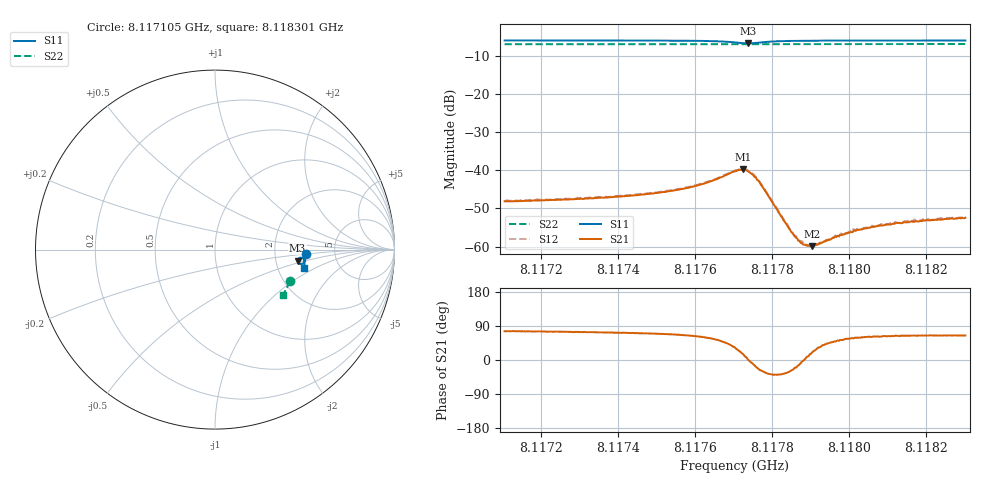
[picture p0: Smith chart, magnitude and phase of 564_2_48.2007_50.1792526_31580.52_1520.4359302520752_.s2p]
#  HZ  S  RI  R  50.00
! Rohde & Schwarz Vector Network Analyzer
! Rohde-Schwarz,ZNB20-2Port,1311601062101988,3.16
! Created: UTC 3/20/2024, 12:01:19 PM
! freq[Hz]  re:S11  im:S11  re:S21  im:S21  re:S12  im:S12  re:S22  im:S22
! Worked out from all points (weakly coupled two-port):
!   401 points, 8.117105 GHz to 8.118301 GHz, reference 50 ohm
!   highest |S21| = -39.76 dB at 8.117724 GHz (marker M1); lowest = -59.9 dB at 8.117904 GHz (marker M2)
!   lowest |S11| = -6.7 dB at 8.117736 GHz (marker M3), VSWR 2.73, Z = 133 - j20.6 ohm
!   |S11| at or under -10 dB: nowhere
!   |S22| runs from -6.9 to -6.8 dB; largest |S21 - S12| = 0.00038
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8.1171048e9  0.5062 -0.0234  0.000952 0.00381  0.000961 0.00386  0.4163 -0.1755
8.1173052e9  0.5047 -0.0397  0.00118 0.00406  0.00124 0.00416  0.4112 -0.1885
8.11738e9  0.5038 -0.0462  0.00135 0.00425  0.00136 0.00429  0.4091 -0.1932
8.1175057e9  0.5013 -0.0581  0.00182 0.00476  0.00191 0.00485  0.4054 -0.2014
8.1176074e9  0.4959 -0.0706  0.00298 0.00565  0.00306 0.00571  0.4022 -0.208
8.1176522e9  0.4894 -0.0773  0.00441 0.00616  0.00452 0.00626  0.4005 -0.2109
8.1177031e9  0.4708 -0.0793  0.0082 0.00529  0.00845 0.00526  0.3982 -0.2139
8.117724e9  0.4612 -0.0699  0.00991 0.00274  0.0102 0.00248  0.3972 -0.2146
8.117736e9  0.4598 -0.0609  0.00979 0.000338  0.00999 0.000477  0.397 -0.2149
8.1177509e9  0.4646 -0.0505  0.00837 -0.00173  0.00864 -0.00193  0.3969 -0.2153
8.1177689e9  0.4748 -0.045  0.00594 -0.00301  0.00608 -0.00309  0.397 -0.2162
8.1178497e9  0.4968 -0.058  0.00138 -0.000718  0.00141 -0.000733  0.3952 -0.222
8.1178616e9  0.4975 -0.0601  0.00122 -0.000444  0.0013 -0.000446  0.3951 -0.2228
8.1178796e9  0.4985 -0.0631  0.00107 -4.66e-05  0.00114 -6.66e-05  0.3944 -0.2241
8.1178915e9  0.4986 -0.0648  0.00101 0.000169  0.00104 0.000121  0.3939 -0.2247
8.1179035e9  0.499 -0.0665  0.000951 0.000348  0.000993 0.000356  0.3937 -0.2255
8.1179693e9  0.4993 -0.0746  0.000856 0.00109  0.000884 0.00109  0.3915 -0.2298
8.1180142e9  0.499 -0.0792  0.000844 0.00138  0.000859 0.00138  0.3901 -0.2326
8.118065e9  0.4984 -0.0842  0.000856 0.0016  0.000921 0.00164  0.3882 -0.2359
8.1181039e9  0.498 -0.0875  0.000883 0.00173  0.000863 0.00177  0.387 -0.2382
8.1181727e9  0.497 -0.0934  0.000936 0.00193  0.000968 0.00193  0.3847 -0.2425
8.1183013e9  0.4951 -0.1039  0.00102 0.00216  0.00106 0.00218  0.38 -0.2502
